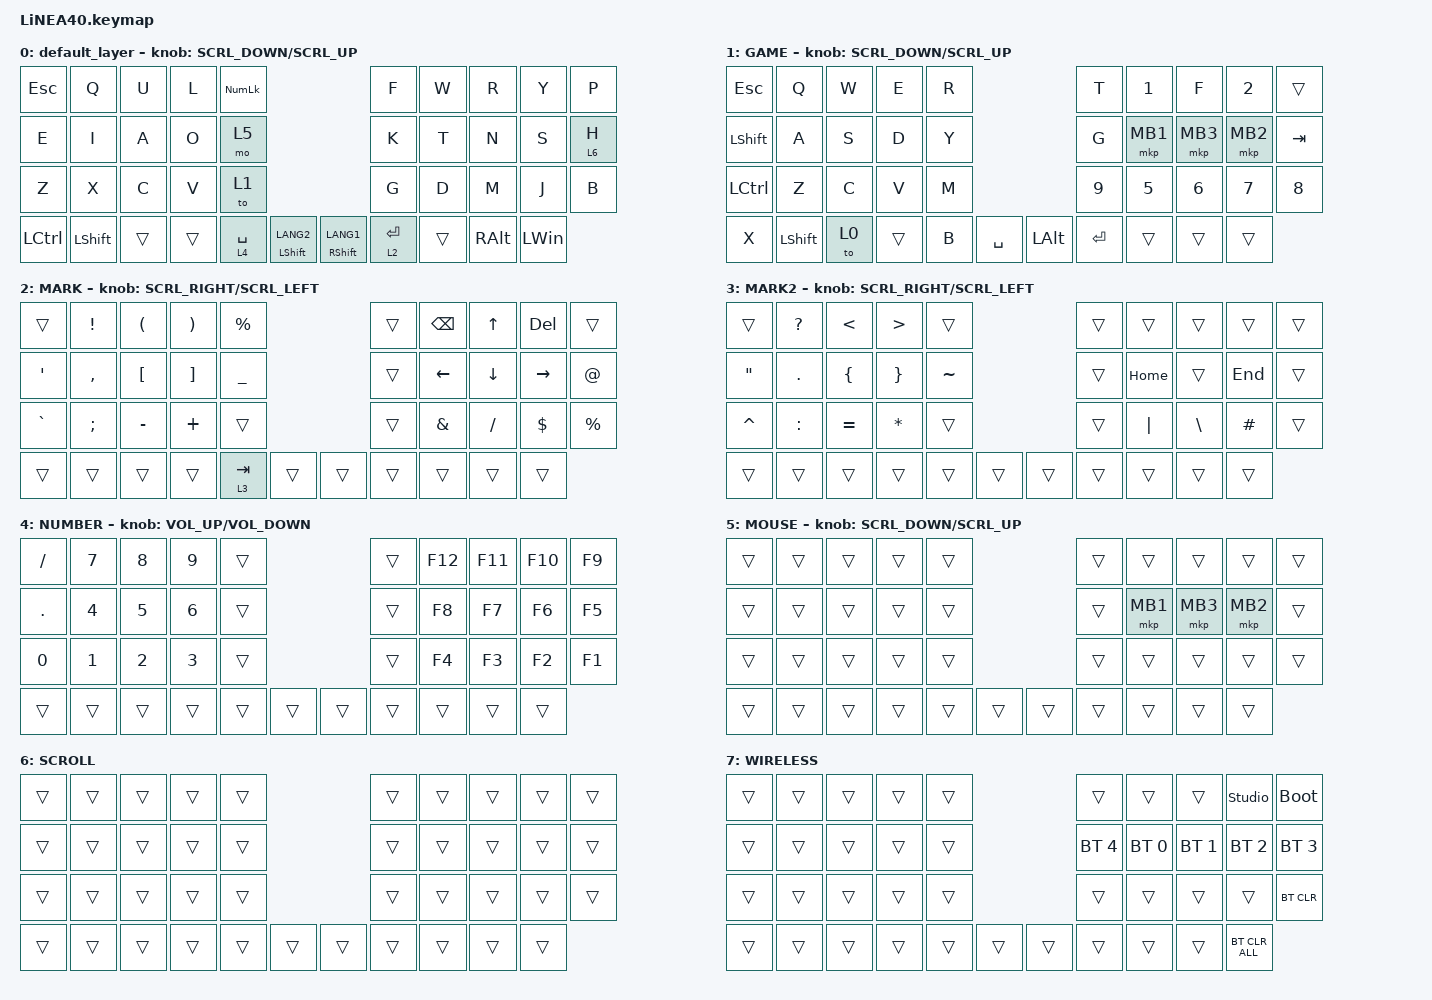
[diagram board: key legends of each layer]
#define ZMK_POINTING_DEFAULT_SCRL_VAL 150

#include <dt-bindings/zmk/input_transform.h>
#include <input/processors.dtsi>
#include <zephyr/dt-bindings/input/input-event-codes.h>
#include <behaviors.dtsi>
#include <dt-bindings/zmk/bt.h>
#include <dt-bindings/zmk/keys.h>
#include <dt-bindings/zmk/pointing.h>

#define MOUSE 1
#define MARK 2
#define CURSOR 3
#define FUNCTION 4
#define SCROLL 6
#define WIRELESS 7

//mouse cursol

&mmv {
    delay-ms = <20>;
    trigger-period-ms = <5>;
    time-to-max-speed-ms = <100>;
    acceleration-exponent = <2>;
};

//mouse scroll

&msc {
    delay-ms = <3>;
    trigger-period-ms = <3>;
    time-to-max-speed-ms = <100>;
    acceleration-exponent = <0>;
};

/ {
    input_processors {
        zip_wheel_scaler: zip_wheel_scaler {
            compatible = "zmk,input-processor-scaler";
            #input-processor-cells = <2>;
            type = <INPUT_EV_REL>;
            codes = <INPUT_REL_WHEEL>;
            track-remainders;
        };
    };
};

&mkp_input_listener { input-processors = <&zip_temp_layer 5 800>; };

&msc_input_listener {
    speed_up {
        layers = <FUNCTION>;
        input-processors = <&zip_wheel_scaler 3 1>; //スクロールを3倍速にする
    };
};

&trackball_listener {
    scroller {
        layers = <SCROLL>;
        input-processors =
            <&zip_xy_transform INPUT_TRANSFORM_Y_INVERT>,
            //スクロール方向を逆転,,,,,,,,,,,,,,
            <&zip_xy_to_scroll_mapper>;
    };
};

/ {
    combos {
        compatible = "zmk,combos";

        wireless {
            bindings = <&mo 7>;
            key-positions = <36 35>;
        };
    };

    behaviors {
        re_kp: sensor_rotate_kp {
            compatible = "zmk,behavior-sensor-rotate-var";
            #sensor-binding-cells = <2>;
            bindings = <&kp>, <&kp>;
        };

        mouse_scrl: mouse_wheel_scrl {
            compatible = "zmk,behavior-sensor-rotate-var";
            #sensor-binding-cells = <2>;
            bindings = <&msc>, <&msc>;

            tap-ms = <20>;
        };
    };

    keymap {
        compatible = "zmk,keymap";

        default_layer {
            bindings = <
&kp ESC    &kp Q      &kp U   &kp L   &kp KP_NUM                                         &kp F        &kp W  &kp R   &kp Y          &kp P
&kp E      &kp I      &kp A   &kp O   &mo 5                                              &kp K        &kp T  &kp N   &kp S          &lt 6 H
&kp Z      &kp X      &kp C   &kp V   &to 1                                              &kp G        &kp D  &kp M   &kp J          &kp B
&kp LCTRL  &kp LSHFT  &trans  &trans  &lt 4 SPACE  &mt LSHIFT LANG2    &mt RSHIFT LANG1  &lt 2 ENTER         &trans  &kp RIGHT_ALT  &kp LWIN
            >;

            sensor-bindings = <&mouse_scrl SCRL_DOWN SCRL_UP>;
        };

        GAME {
            bindings = <
&kp ESC         &kp Q       &kp W  &kp E   &kp R                             &kp T         &kp NUMBER_1  &kp F         &kp NUMBER_2  &trans
&kp LEFT_SHIFT  &kp A       &kp S  &kp D   &kp Y                             &kp G         &mkp MB1      &mkp MB3      &mkp MB2      &kp TAB
&kp LCTRL       &kp Z       &kp C  &kp V   &kp M                             &kp NUMBER_9  &kp NUMBER_5  &kp NUMBER_6  &kp NUMBER_7  &kp N8
&kp X           &kp LSHIFT  &to 0  &trans  &kp B  &kp SPACE    &kp LEFT_ALT  &kp ENTER                   &trans        &trans        &trans
            >;

            sensor-bindings = <&mouse_scrl SCRL_DOWN SCRL_UP>;
        };

        MARK {
            bindings = <
&trans            &kp EXCL   &kp LPAR          &kp RPAR           &kp PERCENT                    &trans  &kp BACKSPACE  &kp UP     &kp DELETE  &trans
&kp SINGLE_QUOTE  &kp COMMA  &kp LEFT_BRACKET  &kp RIGHT_BRACKET  &kp UNDER                      &trans  &kp LEFT       &kp DOWN   &kp RIGHT   &kp AT
&kp GRAVE         &kp SEMI   &kp MINUS         &kp PLUS           &trans                         &trans  &kp AMPERSAND  &kp SLASH  &kp DOLLAR  &kp PERCENT
&trans            &trans     &trans            &trans             &lt 3 TAB    &trans    &trans  &trans                 &trans     &trans      &trans
            >;

            sensor-bindings = <&mouse_scrl SCRL_RIGHT SCRL_LEFT>;
        };

        MARK2 {
            bindings = <
&trans             &kp QUESTION  &kp LT     &kp GT     &trans                       &trans  &trans    &trans         &trans    &trans
&kp DOUBLE_QUOTES  &kp PERIOD    &kp LBRC   &kp RBRC   &kp TILDE                    &trans  &kp HOME  &trans         &kp END   &trans
&kp CARET          &kp COLON     &kp EQUAL  &kp ASTRK  &trans                       &trans  &kp PIPE  &kp BACKSLASH  &kp HASH  &trans
&trans             &trans        &trans     &trans     &trans     &trans    &trans  &trans            &trans         &trans    &trans
            >;

            sensor-bindings = <&mouse_scrl SCRL_RIGHT SCRL_LEFT>;
        };

        NUMBER {
            bindings = <
&kp SLASH   &kp N7  &kp N8  &kp N9  &trans                    &trans  &kp F12  &kp F11  &kp F10  &kp F9
&kp PERIOD  &kp N4  &kp N5  &kp N6  &trans                    &trans  &kp F8   &kp F7   &kp F6   &kp F5
&kp N0      &kp N1  &kp N2  &kp N3  &trans                    &trans  &kp F4   &kp F3   &kp F2   &kp F1
&trans      &trans  &trans  &trans  &trans  &trans    &trans  &trans           &trans   &trans   &trans
            >;

            sensor-bindings = <&inc_dec_kp C_VOL_UP C_VOLUME_DOWN>;
        };

        MOUSE {
            bindings = <
&trans  &trans  &trans  &trans  &trans                    &trans  &trans    &trans    &trans    &trans
&trans  &trans  &trans  &trans  &trans                    &trans  &mkp MB1  &mkp MB3  &mkp MB2  &trans
&trans  &trans  &trans  &trans  &trans                    &trans  &trans    &trans    &trans    &trans
&trans  &trans  &trans  &trans  &trans  &trans    &trans  &trans            &trans    &trans    &trans
            >;

            sensor-bindings = <&mouse_scrl SCRL_DOWN SCRL_UP>;
        };

        SCROLL {
            bindings = <
&trans  &trans  &trans  &trans  &trans                    &trans  &trans  &trans  &trans  &trans
&trans  &trans  &trans  &trans  &trans                    &trans  &trans  &trans  &trans  &trans
&trans  &trans  &trans  &trans  &trans                    &trans  &trans  &trans  &trans  &trans
&trans  &trans  &trans  &trans  &trans  &trans    &trans  &trans          &trans  &trans  &trans
            >;
        };

        WIRELESS {
            bindings = <
&trans  &trans  &trans  &trans  &trans                    &trans        &trans        &trans        &studio_unlock  &bootloader
&trans  &trans  &trans  &trans  &trans                    &bt BT_SEL 4  &bt BT_SEL 0  &bt BT_SEL 1  &bt BT_SEL 2    &bt BT_SEL 3
&trans  &trans  &trans  &trans  &trans                    &trans        &trans        &trans        &trans          &bt BT_CLR
&trans  &trans  &trans  &trans  &trans  &trans    &trans  &trans                      &trans        &trans          &bt BT_CLR_ALL
            >;
        };
    };
};
